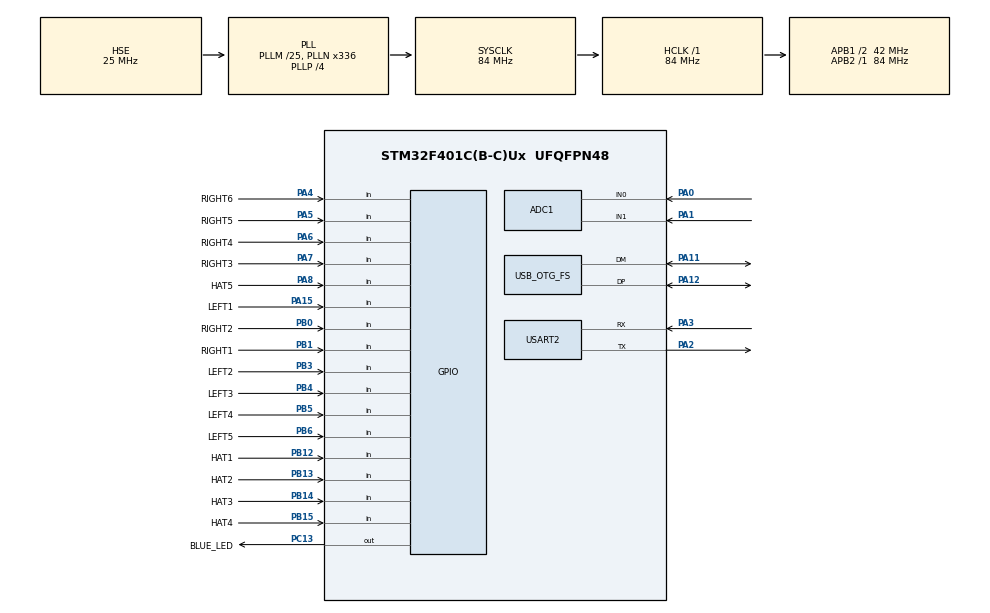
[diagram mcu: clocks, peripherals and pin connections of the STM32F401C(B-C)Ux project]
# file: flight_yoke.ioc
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ADC1.Channel-0\#ChannelRegularConversion=ADC_CHANNEL_0
ADC1.Channel-1\#ChannelRegularConversion=ADC_CHANNEL_1
ADC1.NbrOfConversion=2
ADC1.NbrOfConversionFlag=1
ADC1.Rank-0\#ChannelRegularConversion=1
ADC1.Rank-1\#ChannelRegularConversion=2
ADC1.SamplingTime-0\#ChannelRegularConversion=ADC_SAMPLETIME_3CYCLES
ADC1.SamplingTime-1\#ChannelRegularConversion=ADC_SAMPLETIME_3CYCLES
ADC1.master=1
Dma.ADC1.0.Direction=DMA_PERIPH_TO_MEMORY
Dma.ADC1.0.FIFOMode=DMA_FIFOMODE_DISABLE
Dma.ADC1.0.Instance=DMA2_Stream0
Dma.ADC1.0.MemDataAlignment=DMA_MDATAALIGN_HALFWORD
Dma.ADC1.0.MemInc=DMA_MINC_ENABLE
Dma.ADC1.0.Mode=DMA_NORMAL
Dma.ADC1.0.PeriphDataAlignment=DMA_PDATAALIGN_HALFWORD
Dma.ADC1.0.PeriphInc=DMA_PINC_DISABLE
Dma.ADC1.0.Priority=DMA_PRIORITY_LOW
Dma.Request0=ADC1
FREERTOS.MEMORY_ALLOCATION=1
FREERTOS.Queues01=WriteQueue,10,WriteBuffer,0,Static,WriteQueueBuffer,WriteQueueControlBlock
FREERTOS.Tasks01=defaultTask,0,512,StartDefaultTask,Default,NULL,Static,defaultTaskBuffer,defaultTaskControlBlock;WriteTask,0,512,write_task,As external,&huart2,Static,WriteTaskBuffer,WriteTaskControlBlock;SampleTask,0,512,sample_task,As external,&hadc1,Static,SampleTaskBuffer,SampleTaskControlBlock
Mcu.Family=STM32F4
Mcu.Name=STM32F401C(B-C)Ux
Mcu.Package=UFQFPN48
NVIC.ADC_IRQn=true\:5\:0\:false\:false\:true\:true\:true\:true
NVIC.DMA2_Stream0_IRQn=true\:5\:0\:false\:false\:true\:true\:false\:true
NVIC.OTG_FS_IRQn=true\:5\:0\:false\:false\:true\:true\:false\:true
NVIC.PriorityGroup=NVIC_PRIORITYGROUP_4
NVIC.TIM1_UP_TIM10_IRQn=true\:0\:0\:false\:false\:true\:false\:false\:true
NVIC.TimeBase=TIM1_UP_TIM10_IRQn
NVIC.TimeBaseIP=TIM1
NVIC.USART2_IRQn=true\:5\:0\:false\:false\:true\:true\:true\:true
PA0-WKUP.Signal=ADCx_IN0
PA1.Signal=ADCx_IN1
PA11.Mode=Device_Only
PA11.Signal=USB_OTG_FS_DM
PA12.Mode=Device_Only
PA12.Signal=USB_OTG_FS_DP
PA13.Mode=Serial_Wire
PA13.Signal=SYS_JTMS-SWDIO
PA14.Mode=Serial_Wire
PA14.Signal=SYS_JTCK-SWCLK
PA15.GPIO_Label=LEFT1
PA15.GPIO_PuPd=GPIO_PULLUP
PA15.Signal=GPIO_Input
PA2.Mode=Asynchronous
PA2.Signal=USART2_TX
PA3.Mode=Asynchronous
PA3.Signal=USART2_RX
PA4.GPIO_Label=RIGHT6
PA4.GPIO_PuPd=GPIO_PULLUP
PA4.Signal=GPIO_Input
PA5.GPIO_Label=RIGHT5
PA5.GPIO_PuPd=GPIO_PULLUP
PA5.Signal=GPIO_Input
PA6.GPIO_Label=RIGHT4
PA6.GPIO_PuPd=GPIO_PULLUP
PA6.Signal=GPIO_Input
PA7.GPIO_Label=RIGHT3
PA7.GPIO_PuPd=GPIO_PULLUP
PA7.Signal=GPIO_Input
PA8.GPIO_Label=HAT5
PA8.GPIO_PuPd=GPIO_PULLUP
PA8.Signal=GPIO_Input
PB0.GPIO_Label=RIGHT2
PB0.GPIO_PuPd=GPIO_PULLUP
PB0.Signal=GPIO_Input
PB1.GPIO_Label=RIGHT1
PB1.GPIO_PuPd=GPIO_PULLUP
PB1.Signal=GPIO_Input
PB12.GPIO_Label=HAT1
PB12.GPIO_PuPd=GPIO_PULLUP
PB12.Signal=GPIO_Input
PB13.GPIO_Label=HAT2
PB13.GPIO_PuPd=GPIO_PULLUP
PB13.Signal=GPIO_Input
PB14.GPIO_Label=HAT3
PB14.GPIO_PuPd=GPIO_PULLUP
PB14.Signal=GPIO_Input
PB15.GPIO_Label=HAT4
PB15.GPIO_PuPd=GPIO_PULLUP
PB15.Signal=GPIO_Input
PB3.GPIO_Label=LEFT2
PB3.GPIO_PuPd=GPIO_PULLUP
PB3.Signal=GPIO_Input
PB4.GPIO_Label=LEFT3
PB4.GPIO_PuPd=GPIO_PULLUP
PB4.Signal=GPIO_Input
PB5.GPIO_Label=LEFT4
PB5.GPIO_PuPd=GPIO_PULLUP
PB5.Signal=GPIO_Input
PB6.GPIO_Label=LEFT5
PB6.GPIO_PuPd=GPIO_PULLUP
PB6.Signal=GPIO_Input
PC13-ANTI_TAMP.GPIO_Label=BLUE_LED
PC13-ANTI_TAMP.Signal=GPIO_Output
PC14-OSC32_IN.Mode=LSE-External-Oscillator
PC14-OSC32_IN.Signal=RCC_OSC32_IN
PC15-OSC32_OUT.Mode=LSE-External-Oscillator
PC15-OSC32_OUT.Signal=RCC_OSC32_OUT
PH0\ -\ OSC_IN.Mode=HSE-External-Oscillator
PH0\ -\ OSC_IN.Signal=RCC_OSC_IN
PH1\ -\ OSC_OUT.Mode=HSE-External-Oscillator
PH1\ -\ OSC_OUT.Signal=RCC_OSC_OUT
ProjectManager.HeapSize=0x200
ProjectManager.StackSize=0x400
ProjectManager.TargetToolchain=Makefile
RCC.48MHZClocksFreq_Value=48000000
RCC.AHBFreq_Value=84000000
RCC.APB1CLKDivider=RCC_HCLK_DIV2
RCC.APB1Freq_Value=42000000
RCC.APB1TimFreq_Value=84000000
RCC.APB2Freq_Value=84000000
RCC.APB2TimFreq_Value=84000000
RCC.CortexFreq_Value=84000000
RCC.HCLKFreq_Value=84000000
RCC.HSE_VALUE=25000000
RCC.HSI_VALUE=16000000
RCC.PLLM=25
RCC.PLLN=336
RCC.PLLP=RCC_PLLP_DIV4
RCC.PLLQ=7
RCC.SYSCLKFreq_VALUE=84000000
RCC.SYSCLKSource=RCC_SYSCLKSOURCE_PLLCLK
RCC.VCOOutputFreq_Value=336000000
SH.ADCx_IN0.0=ADC1_IN0,IN0
SH.ADCx_IN1.0=ADC1_IN1,IN1
TIM2.Prescaler=84
USART2.VirtualMode=VM_ASYNC
USB_DEVICE.CLASS_NAME_FS=HID
USB_DEVICE.VirtualMode=Hid
USB_DEVICE.VirtualModeFS=Hid_FS
USB_OTG_FS.VirtualMode=Device_Only
VP_FREERTOS_VS_CMSIS_V1.Mode=CMSIS_V1
VP_SYS_VS_tim1.Mode=TIM1
VP_TIM2_VS_ClockSourceINT.Mode=Internal
VP_USB_DEVICE_VS_USB_DEVICE_HID_FS.Mode=HID_FS
board=custom

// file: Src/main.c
/* USER CODE BEGIN Header */
/**
  ******************************************************************************
  * @file           : main.c
  * @brief          : Main program body
  ******************************************************************************
  * @attention
  *
  * <h2><center>&copy; Copyright (c) 2022 STMicroelectronics.
  * All rights reserved.</center></h2>
  *
  * This software component is licensed by ST under Ultimate Liberty license
  * SLA0044, the "License"; You may not use this file except in compliance with
  * the License. You may obtain a copy of the License at:
  *                             www.st.com/SLA0044
  *
  ******************************************************************************
  */
/* USER CODE END Header */
#include "main.h"
#include "cmsis_os.h"
#include "usb_device.h"

/* USER CODE BEGIN Includes */
#include "usbd_hid.h"
#include "write.h"
#include "buttons.h"

/* USER CODE END Includes */

ADC_HandleTypeDef hadc1;
DMA_HandleTypeDef hdma_adc1;

TIM_HandleTypeDef htim2;

UART_HandleTypeDef huart2;

osThreadId defaultTaskHandle;
uint32_t defaultTaskBuffer[ 512 ];
osStaticThreadDef_t defaultTaskControlBlock;
osThreadId WriteTaskHandle;
uint32_t WriteTaskBuffer[ 512 ];
osStaticThreadDef_t WriteTaskControlBlock;
osThreadId SampleTaskHandle;
uint32_t SampleTaskBuffer[ 512 ];
osStaticThreadDef_t SampleTaskControlBlock;
osMessageQId WriteQueueHandle;
uint8_t WriteQueueBuffer[ 10 * sizeof( WriteBuffer ) ];
osStaticMessageQDef_t WriteQueueControlBlock;

void SystemClock_Config(void);
static void MX_GPIO_Init(void);
static void MX_DMA_Init(void);
static void MX_USART2_UART_Init(void);
static void MX_ADC1_Init(void);
static void MX_TIM2_Init(void);
void StartDefaultTask(void const * argument);
extern void write_task(void const * argument);
extern void sample_task(void const * argument);

int main(void)
{

  /* MCU Configuration--------------------------------------------------------*/

  /* Reset of all peripherals, Initializes the Flash interface and the Systick. */
  HAL_Init();

  /* Configure the system clock */
  SystemClock_Config();

  /* Initialize all configured peripherals */
  MX_GPIO_Init();
  MX_DMA_Init();
  MX_USART2_UART_Init();
  MX_ADC1_Init();
  MX_TIM2_Init();

  /* Create the queue(s) */
  /* definition and creation of WriteQueue */
  osMessageQStaticDef(WriteQueue, 10, WriteBuffer, WriteQueueBuffer, &WriteQueueControlBlock);
  WriteQueueHandle = osMessageCreate(osMessageQ(WriteQueue), NULL);

  /* Create the thread(s) */
  /* definition and creation of defaultTask */
  osThreadStaticDef(defaultTask, StartDefaultTask, osPriorityNormal, 0, 512, defaultTaskBuffer, &defaultTaskControlBlock);
  defaultTaskHandle = osThreadCreate(osThread(defaultTask), NULL);

  /* definition and creation of WriteTask */
  osThreadStaticDef(WriteTask, write_task, osPriorityNormal, 0, 512, WriteTaskBuffer, &WriteTaskControlBlock);
  WriteTaskHandle = osThreadCreate(osThread(WriteTask), (void*) &huart2);

  /* definition and creation of SampleTask */
  osThreadStaticDef(SampleTask, sample_task, osPriorityNormal, 0, 512, SampleTaskBuffer, &SampleTaskControlBlock);
  SampleTaskHandle = osThreadCreate(osThread(SampleTask), (void*) &hadc1);

  /* Start scheduler */
  osKernelStart();

  /* We should never get here as control is now taken by the scheduler */
  /* Infinite loop */
  while (1)
  {

  }
}

void SystemClock_Config(void)
{
  RCC_OscInitTypeDef RCC_OscInitStruct = {0};
  RCC_ClkInitTypeDef RCC_ClkInitStruct = {0};

  /** Configure the main internal regulator output voltage
  */
  __HAL_RCC_PWR_CLK_ENABLE();
  __HAL_PWR_VOLTAGESCALING_CONFIG(PWR_REGULATOR_VOLTAGE_SCALE2);
  /** Initializes the RCC Oscillators according to the specified parameters
  * in the RCC_OscInitTypeDef structure.
  */
  RCC_OscInitStruct.OscillatorType = RCC_OSCILLATORTYPE_HSE;
  RCC_OscInitStruct.HSEState = RCC_HSE_ON;
  RCC_OscInitStruct.PLL.PLLState = RCC_PLL_ON;
  RCC_OscInitStruct.PLL.PLLSource = RCC_PLLSOURCE_HSE;
  RCC_OscInitStruct.PLL.PLLM = 25;
  RCC_OscInitStruct.PLL.PLLN = 336;
  RCC_OscInitStruct.PLL.PLLP = RCC_PLLP_DIV4;
  RCC_OscInitStruct.PLL.PLLQ = 7;
  if (HAL_RCC_OscConfig(&RCC_OscInitStruct) != HAL_OK)
  {
    Error_Handler();
  }
  /** Initializes the CPU, AHB and APB buses clocks
  */
  RCC_ClkInitStruct.ClockType = RCC_CLOCKTYPE_HCLK|RCC_CLOCKTYPE_SYSCLK
                              |RCC_CLOCKTYPE_PCLK1|RCC_CLOCKTYPE_PCLK2;
  RCC_ClkInitStruct.SYSCLKSource = RCC_SYSCLKSOURCE_PLLCLK;
  RCC_ClkInitStruct.AHBCLKDivider = RCC_SYSCLK_DIV1;
  RCC_ClkInitStruct.APB1CLKDivider = RCC_HCLK_DIV2;
  RCC_ClkInitStruct.APB2CLKDivider = RCC_HCLK_DIV1;

  if (HAL_RCC_ClockConfig(&RCC_ClkInitStruct, FLASH_LATENCY_2) != HAL_OK)
  {
    Error_Handler();
  }
}

static void MX_ADC1_Init(void)
{

  ADC_ChannelConfTypeDef sConfig = {0};

  /** Configure the global features of the ADC (Clock, Resolution, Data Alignment and number of conversion)
  */
  hadc1.Instance = ADC1;
  hadc1.Init.ClockPrescaler = ADC_CLOCK_SYNC_PCLK_DIV4;
  hadc1.Init.Resolution = ADC_RESOLUTION_12B;
  hadc1.Init.ScanConvMode = ENABLE;
  hadc1.Init.ContinuousConvMode = DISABLE;
  hadc1.Init.DiscontinuousConvMode = DISABLE;
  hadc1.Init.ExternalTrigConvEdge = ADC_EXTERNALTRIGCONVEDGE_NONE;
  hadc1.Init.ExternalTrigConv = ADC_SOFTWARE_START;
  hadc1.Init.DataAlign = ADC_DATAALIGN_RIGHT;
  hadc1.Init.NbrOfConversion = 2;
  hadc1.Init.DMAContinuousRequests = DISABLE;
  hadc1.Init.EOCSelection = ADC_EOC_SINGLE_CONV;
  if (HAL_ADC_Init(&hadc1) != HAL_OK)
  {
    Error_Handler();
  }
  /** Configure for the selected ADC regular channel its corresponding rank in the sequencer and its sample time.
  */
  sConfig.Channel = ADC_CHANNEL_0;
  sConfig.Rank = 1;
  sConfig.SamplingTime = ADC_SAMPLETIME_3CYCLES;
  if (HAL_ADC_ConfigChannel(&hadc1, &sConfig) != HAL_OK)
  {
    Error_Handler();
  }
  /** Configure for the selected ADC regular channel its corresponding rank in the sequencer and its sample time.
  */
  sConfig.Channel = ADC_CHANNEL_1;
  sConfig.Rank = 2;
  if (HAL_ADC_ConfigChannel(&hadc1, &sConfig) != HAL_OK)
  {
    Error_Handler();
  }

}

static void MX_TIM2_Init(void)
{

  TIM_ClockConfigTypeDef sClockSourceConfig = {0};
  TIM_MasterConfigTypeDef sMasterConfig = {0};

  htim2.Instance = TIM2;
  htim2.Init.Prescaler = 84;
  htim2.Init.CounterMode = TIM_COUNTERMODE_UP;
  htim2.Init.Period = 4294967295;
  htim2.Init.ClockDivision = TIM_CLOCKDIVISION_DIV1;
  htim2.Init.AutoReloadPreload = TIM_AUTORELOAD_PRELOAD_DISABLE;
  if (HAL_TIM_Base_Init(&htim2) != HAL_OK)
  {
    Error_Handler();
  }
  sClockSourceConfig.ClockSource = TIM_CLOCKSOURCE_INTERNAL;
  if (HAL_TIM_ConfigClockSource(&htim2, &sClockSourceConfig) != HAL_OK)
  {
    Error_Handler();
  }
  sMasterConfig.MasterOutputTrigger = TIM_TRGO_RESET;
  sMasterConfig.MasterSlaveMode = TIM_MASTERSLAVEMODE_DISABLE;
  if (HAL_TIMEx_MasterConfigSynchronization(&htim2, &sMasterConfig) != HAL_OK)
  {
    Error_Handler();
  }
  /* USER CODE BEGIN TIM2_Init 2 */

  __HAL_RCC_TIM2_CLK_ENABLE();
  if (HAL_TIM_Base_Start(&htim2) != HAL_OK)
  {
    Error_Handler();
  }

  /* USER CODE END TIM2_Init 2 */

}

static void MX_USART2_UART_Init(void)
{

  huart2.Instance = USART2;
  huart2.Init.BaudRate = 115200;
  huart2.Init.WordLength = UART_WORDLENGTH_8B;
  huart2.Init.StopBits = UART_STOPBITS_1;
  huart2.Init.Parity = UART_PARITY_NONE;
  huart2.Init.Mode = UART_MODE_TX_RX;
  huart2.Init.HwFlowCtl = UART_HWCONTROL_NONE;
  huart2.Init.OverSampling = UART_OVERSAMPLING_16;
  if (HAL_UART_Init(&huart2) != HAL_OK)
  {
    Error_Handler();
  }

}

static void MX_DMA_Init(void)
{

  /* DMA controller clock enable */
  __HAL_RCC_DMA2_CLK_ENABLE();

  /* DMA interrupt init */
  /* DMA2_Stream0_IRQn interrupt configuration */
  HAL_NVIC_SetPriority(DMA2_Stream0_IRQn, 5, 0);
  HAL_NVIC_EnableIRQ(DMA2_Stream0_IRQn);

}

static void MX_GPIO_Init(void)
{
  GPIO_InitTypeDef GPIO_InitStruct = {0};

  /* GPIO Ports Clock Enable */
  __HAL_RCC_GPIOC_CLK_ENABLE();
  __HAL_RCC_GPIOH_CLK_ENABLE();
  __HAL_RCC_GPIOA_CLK_ENABLE();
  __HAL_RCC_GPIOB_CLK_ENABLE();

  /*Configure GPIO pin Output Level */
  HAL_GPIO_WritePin(BLUE_LED_GPIO_Port, BLUE_LED_Pin, GPIO_PIN_RESET);

  /*Configure GPIO pin : BLUE_LED_Pin */
  GPIO_InitStruct.Pin = BLUE_LED_Pin;
  GPIO_InitStruct.Mode = GPIO_MODE_OUTPUT_PP;
  GPIO_InitStruct.Pull = GPIO_NOPULL;
  GPIO_InitStruct.Speed = GPIO_SPEED_FREQ_LOW;
  HAL_GPIO_Init(BLUE_LED_GPIO_Port, &GPIO_InitStruct);

  /*Configure GPIO pins : RIGHT6_Pin RIGHT5_Pin RIGHT4_Pin RIGHT3_Pin
                           HAT5_Pin LEFT1_Pin */
  GPIO_InitStruct.Pin = RIGHT6_Pin|RIGHT5_Pin|RIGHT4_Pin|RIGHT3_Pin
                          |HAT5_Pin|LEFT1_Pin;
  GPIO_InitStruct.Mode = GPIO_MODE_INPUT;
  GPIO_InitStruct.Pull = GPIO_PULLUP;
  HAL_GPIO_Init(GPIOA, &GPIO_InitStruct);

  /*Configure GPIO pins : RIGHT2_Pin RIGHT1_Pin HAT1_Pin HAT2_Pin
                           HAT3_Pin HAT4_Pin LEFT2_Pin LEFT3_Pin
                           LEFT4_Pin LEFT5_Pin */
  GPIO_InitStruct.Pin = RIGHT2_Pin|RIGHT1_Pin|HAT1_Pin|HAT2_Pin
                          |HAT3_Pin|HAT4_Pin|LEFT2_Pin|LEFT3_Pin
                          |LEFT4_Pin|LEFT5_Pin;
  GPIO_InitStruct.Mode = GPIO_MODE_INPUT;
  GPIO_InitStruct.Pull = GPIO_PULLUP;
  HAL_GPIO_Init(GPIOB, &GPIO_InitStruct);

}

void StartDefaultTask(void const * argument)
{
  /* init code for USB_DEVICE */
  MX_USB_DEVICE_Init();
  /* USER CODE BEGIN 5 */
  /* Infinite loop */
  typedef struct {
    int8_t x_value;
    int8_t y_value;
    uint16_t buttons;
  } joystickHID;

  extern USBD_HandleTypeDef hUsbDeviceFS;

  static joystickHID joystick_hid = { 0, 0, 0 };

  uint32_t polling_interval = USBD_HID_GetPollingInterval(&hUsbDeviceFS);
  printf("HID polling interval: %ld\n", polling_interval);

  extern int8_t x_value, y_value;
  static int8_t last_x_value, last_y_value = 0;
  static uint16_t button_state;
  static uint16_t last_button_state = 0;

  for(;;)
  {
    button_state = read_buttons();

    if (x_value != last_x_value || y_value != last_y_value || button_state != last_button_state) {
      /*
      if (button_state != last_button_state) {
        printf("new button state: 0x%04x\n", button_state);
      }
      */

      last_x_value = joystick_hid.x_value = x_value;
      last_y_value = joystick_hid.y_value = y_value;
      last_button_state = joystick_hid.buttons = button_state;

      HAL_GPIO_WritePin(BLUE_LED_GPIO_Port, BLUE_LED_Pin, GPIO_PIN_RESET);
      USBD_HID_SendReport(&hUsbDeviceFS, (uint8_t *)&joystick_hid, sizeof (joystick_hid));

      osDelay(polling_interval);
      HAL_GPIO_WritePin(BLUE_LED_GPIO_Port, BLUE_LED_Pin, GPIO_PIN_SET);
    }

    osDelay(1);
  }
  /* USER CODE END 5 */
}

 /**
  * @brief  Period elapsed callback in non blocking mode
  * @note   This function is called  when TIM1 interrupt took place, inside
  * HAL_TIM_IRQHandler(). It makes a direct call to HAL_IncTick() to increment
  * a global variable "uwTick" used as application time base.
  * @param  htim : TIM handle
  * @retval None
  */
void HAL_TIM_PeriodElapsedCallback(TIM_HandleTypeDef *htim)
{
  if (htim->Instance == TIM1) {
    HAL_IncTick();
  }
}

void Error_Handler(void)
{
  __disable_irq();
  while (1)
  {
  }
}

/************************ (C) COPYRIGHT STMicroelectronics *****END OF FILE****/
